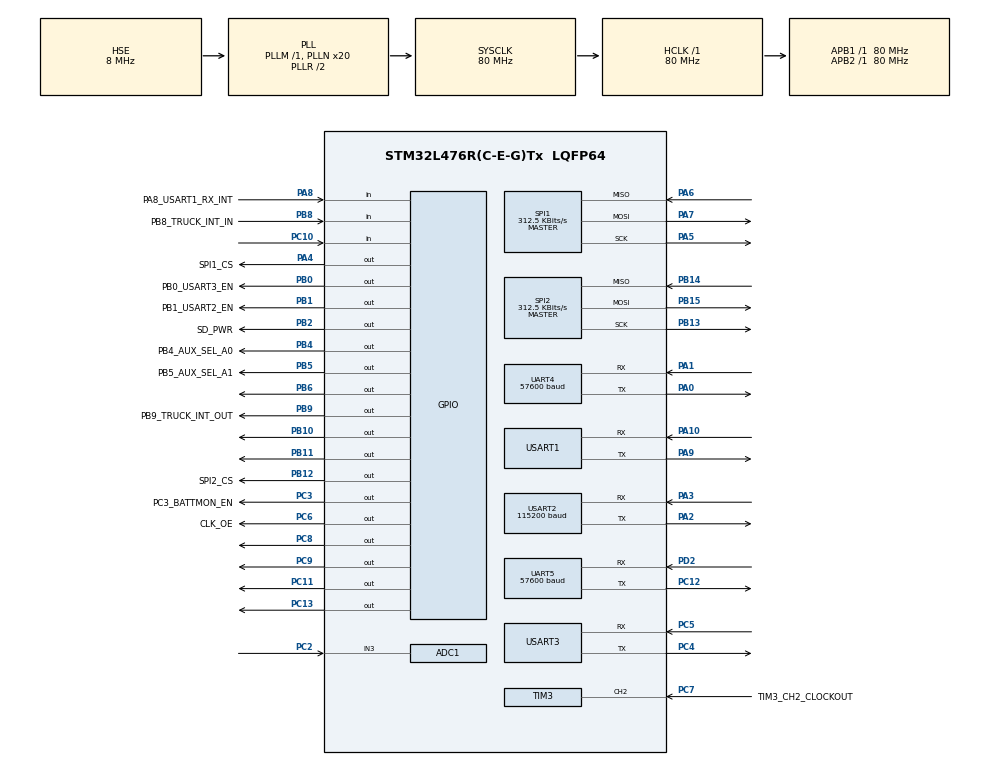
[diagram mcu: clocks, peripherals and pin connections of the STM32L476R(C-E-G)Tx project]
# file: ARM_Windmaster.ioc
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ADC1.Channel-2\#ChannelRegularConversion=ADC_CHANNEL_3
ADC1.NbrOfConversionFlag=1
ADC1.OffsetNumber-2\#ChannelRegularConversion=ADC_OFFSET_NONE
ADC1.Rank-2\#ChannelRegularConversion=1
ADC1.SamplingTime-2\#ChannelRegularConversion=ADC_SAMPLETIME_2CYCLES_5
ADC1.master=1
Dma.Request0=UART4_RX
Dma.Request1=UART5_RX
Dma.Request2=SPI1_TX
Dma.Request3=USART2_RX
Dma.Request4=USART2_TX
Dma.Request5=USART3_RX
Dma.Request6=USART3_TX
Dma.Request7=UART5_TX
Dma.Request8=UART4_TX
Dma.SPI1_TX.2.Direction=DMA_MEMORY_TO_PERIPH
Dma.SPI1_TX.2.Instance=DMA2_Channel4
Dma.SPI1_TX.2.MemDataAlignment=DMA_MDATAALIGN_BYTE
Dma.SPI1_TX.2.MemInc=DMA_MINC_ENABLE
Dma.SPI1_TX.2.Mode=DMA_NORMAL
Dma.SPI1_TX.2.PeriphDataAlignment=DMA_PDATAALIGN_BYTE
Dma.SPI1_TX.2.PeriphInc=DMA_PINC_DISABLE
Dma.SPI1_TX.2.Priority=DMA_PRIORITY_MEDIUM
Dma.UART4_RX.0.Direction=DMA_PERIPH_TO_MEMORY
Dma.UART4_RX.0.Instance=DMA2_Channel5
Dma.UART4_RX.0.MemDataAlignment=DMA_MDATAALIGN_BYTE
Dma.UART4_RX.0.MemInc=DMA_MINC_ENABLE
Dma.UART4_RX.0.Mode=DMA_CIRCULAR
Dma.UART4_RX.0.PeriphDataAlignment=DMA_PDATAALIGN_BYTE
Dma.UART4_RX.0.PeriphInc=DMA_PINC_DISABLE
Dma.UART4_RX.0.Priority=DMA_PRIORITY_VERY_HIGH
Dma.UART4_TX.8.Direction=DMA_MEMORY_TO_PERIPH
Dma.UART4_TX.8.Instance=DMA2_Channel3
Dma.UART4_TX.8.MemDataAlignment=DMA_MDATAALIGN_BYTE
Dma.UART4_TX.8.MemInc=DMA_MINC_ENABLE
Dma.UART4_TX.8.Mode=DMA_NORMAL
Dma.UART4_TX.8.PeriphDataAlignment=DMA_PDATAALIGN_BYTE
Dma.UART4_TX.8.PeriphInc=DMA_PINC_DISABLE
Dma.UART4_TX.8.Priority=DMA_PRIORITY_LOW
Dma.UART5_RX.1.Direction=DMA_PERIPH_TO_MEMORY
Dma.UART5_RX.1.Instance=DMA2_Channel2
Dma.UART5_RX.1.MemDataAlignment=DMA_MDATAALIGN_BYTE
Dma.UART5_RX.1.MemInc=DMA_MINC_ENABLE
Dma.UART5_RX.1.Mode=DMA_CIRCULAR
Dma.UART5_RX.1.PeriphDataAlignment=DMA_PDATAALIGN_BYTE
Dma.UART5_RX.1.PeriphInc=DMA_PINC_DISABLE
Dma.UART5_RX.1.Priority=DMA_PRIORITY_VERY_HIGH
Dma.UART5_TX.7.Direction=DMA_MEMORY_TO_PERIPH
Dma.UART5_TX.7.Instance=DMA2_Channel1
Dma.UART5_TX.7.MemDataAlignment=DMA_MDATAALIGN_BYTE
Dma.UART5_TX.7.MemInc=DMA_MINC_ENABLE
Dma.UART5_TX.7.Mode=DMA_CIRCULAR
Dma.UART5_TX.7.PeriphDataAlignment=DMA_PDATAALIGN_BYTE
Dma.UART5_TX.7.PeriphInc=DMA_PINC_DISABLE
Dma.UART5_TX.7.Priority=DMA_PRIORITY_MEDIUM
Dma.USART2_RX.3.Direction=DMA_PERIPH_TO_MEMORY
Dma.USART2_RX.3.Instance=DMA1_Channel6
Dma.USART2_RX.3.MemDataAlignment=DMA_MDATAALIGN_BYTE
Dma.USART2_RX.3.MemInc=DMA_MINC_ENABLE
Dma.USART2_RX.3.Mode=DMA_NORMAL
Dma.USART2_RX.3.PeriphDataAlignment=DMA_PDATAALIGN_BYTE
Dma.USART2_RX.3.PeriphInc=DMA_PINC_DISABLE
Dma.USART2_RX.3.Priority=DMA_PRIORITY_VERY_HIGH
Dma.USART2_TX.4.Direction=DMA_MEMORY_TO_PERIPH
Dma.USART2_TX.4.Instance=DMA1_Channel7
Dma.USART2_TX.4.MemDataAlignment=DMA_MDATAALIGN_BYTE
Dma.USART2_TX.4.MemInc=DMA_MINC_ENABLE
Dma.USART2_TX.4.Mode=DMA_NORMAL
Dma.USART2_TX.4.PeriphDataAlignment=DMA_PDATAALIGN_BYTE
Dma.USART2_TX.4.PeriphInc=DMA_PINC_DISABLE
Dma.USART2_TX.4.Priority=DMA_PRIORITY_MEDIUM
Dma.USART3_RX.5.Direction=DMA_PERIPH_TO_MEMORY
Dma.USART3_RX.5.Instance=DMA1_Channel3
Dma.USART3_RX.5.MemDataAlignment=DMA_MDATAALIGN_BYTE
Dma.USART3_RX.5.MemInc=DMA_MINC_ENABLE
Dma.USART3_RX.5.Mode=DMA_CIRCULAR
Dma.USART3_RX.5.PeriphDataAlignment=DMA_PDATAALIGN_BYTE
Dma.USART3_RX.5.PeriphInc=DMA_PINC_DISABLE
Dma.USART3_RX.5.Priority=DMA_PRIORITY_VERY_HIGH
Dma.USART3_TX.6.Direction=DMA_MEMORY_TO_PERIPH
Dma.USART3_TX.6.Instance=DMA1_Channel2
Dma.USART3_TX.6.MemDataAlignment=DMA_MDATAALIGN_BYTE
Dma.USART3_TX.6.MemInc=DMA_MINC_ENABLE
Dma.USART3_TX.6.Mode=DMA_NORMAL
Dma.USART3_TX.6.PeriphDataAlignment=DMA_PDATAALIGN_BYTE
Dma.USART3_TX.6.PeriphInc=DMA_PINC_DISABLE
Dma.USART3_TX.6.Priority=DMA_PRIORITY_MEDIUM
FATFS._USE_LFN=2
Mcu.Family=STM32L4
Mcu.Name=STM32L476R(C-E-G)Tx
Mcu.Package=LQFP64
NVIC.DMA1_Channel2_IRQn=true\:0\:0\:false\:false\:true\:false\:true\:true
NVIC.DMA1_Channel3_IRQn=true\:0\:0\:false\:false\:true\:false\:true\:true
NVIC.DMA1_Channel6_IRQn=true\:0\:0\:false\:false\:true\:false\:true\:true
NVIC.DMA1_Channel7_IRQn=true\:0\:0\:false\:false\:true\:false\:true\:true
NVIC.DMA2_Channel1_IRQn=true\:0\:0\:false\:false\:true\:false\:true\:true
NVIC.DMA2_Channel2_IRQn=true\:0\:0\:false\:false\:true\:false\:true\:true
NVIC.DMA2_Channel3_IRQn=true\:0\:0\:false\:false\:true\:false\:true\:true
NVIC.DMA2_Channel4_IRQn=true\:0\:0\:false\:false\:true\:false\:true\:true
NVIC.DMA2_Channel5_IRQn=true\:0\:0\:false\:false\:true\:false\:true\:true
NVIC.PriorityGroup=NVIC_PRIORITYGROUP_4
NVIC.RTC_Alarm_IRQn=true\:0\:0\:false\:false\:true\:true\:true\:true
NVIC.RTC_WKUP_IRQn=true\:0\:0\:false\:false\:true\:true\:true\:true
NVIC.SPI1_IRQn=true\:0\:0\:false\:false\:true\:true\:true\:true
NVIC.TIM3_IRQn=true\:10\:0\:true\:false\:true\:true\:true\:true
NVIC.TIM4_IRQn=true\:11\:0\:true\:false\:true\:true\:true\:true
NVIC.UART4_IRQn=true\:5\:0\:true\:false\:true\:true\:true\:true
NVIC.UART5_IRQn=true\:5\:0\:true\:false\:true\:true\:true\:true
NVIC.USART1_IRQn=true\:0\:0\:false\:false\:true\:true\:true\:true
NVIC.USART2_IRQn=true\:5\:0\:true\:false\:true\:true\:true\:true
NVIC.USART3_IRQn=true\:5\:0\:true\:false\:true\:true\:true\:true
PA0.Mode=Asynchronous
PA0.Signal=UART4_TX
PA1.Mode=Asynchronous
PA1.Signal=UART4_RX
PA10.Mode=Asynchronous
PA10.Signal=USART1_RX
PA11.Signal=USART1_CTS
PA12.Signal=USART1_RTS
PA13\ (JTMS-SWDIO).Mode=Serial_Wire
PA13\ (JTMS-SWDIO).Signal=SYS_JTMS-SWDIO
PA14\ (JTCK-SWCLK).Mode=Serial_Wire
PA14\ (JTCK-SWCLK).Signal=SYS_JTCK-SWCLK
PA2.Mode=Asynchronous
PA2.Signal=USART2_TX
PA3.Mode=Asynchronous
PA3.Signal=USART2_RX
PA4.GPIO_Label=SPI1_CS
PA4.PinState=GPIO_PIN_SET
PA4.Signal=GPIO_Output
PA5.Mode=Full_Duplex_Master
PA5.Signal=SPI1_SCK
PA6.Mode=Full_Duplex_Master
PA6.Signal=SPI1_MISO
PA7.Mode=Full_Duplex_Master
PA7.Signal=SPI1_MOSI
PA8.GPIO_Label=PA8_USART1_RX_INT
PA8.Signal=GPIO_Input
PA9.Mode=Asynchronous
PA9.Signal=USART1_TX
PB0.GPIO_Label=PB0_USART3_EN
PB0.Signal=GPIO_Output
PB1.GPIO_Label=PB1_USART2_EN
PB1.Signal=GPIO_Output
PB10.Signal=GPIO_Output
PB11.Signal=GPIO_Output
PB12.GPIO_Label=SPI2_CS
PB12.Signal=GPIO_Output
PB13.GPIO_PuPd=GPIO_PULLUP
PB13.Mode=Full_Duplex_Master
PB13.Signal=SPI2_SCK
PB14.GPIO_PuPd=GPIO_PULLUP
PB14.Mode=Full_Duplex_Master
PB14.Signal=SPI2_MISO
PB15.GPIO_PuPd=GPIO_PULLUP
PB15.Mode=Full_Duplex_Master
PB15.Signal=SPI2_MOSI
PB2.GPIO_Label=SD_PWR
PB2.Signal=GPIO_Output
PB3\ (JTDO-TRACESWO).Signal=SYS_JTDO-SWO
PB4\ (NJTRST).GPIO_Label=PB4_AUX_SEL_A0
PB4\ (NJTRST).Signal=GPIO_Output
PB5.GPIO_Label=PB5_AUX_SEL_A1
PB5.Signal=GPIO_Output
PB6.Signal=GPIO_Output
PB8.GPIO_Label=PB8_TRUCK_INT_IN
PB8.Signal=GPIO_Input
PB9.GPIO_Label=PB9_TRUCK_INT_OUT
PB9.Signal=GPIO_Output
PC0.Signal=ADCx_IN1
PC1.Signal=ADCx_IN2
PC10.Signal=GPIO_Input
PC11.Signal=GPIO_Output
PC12.Mode=Asynchronous
PC12.Signal=UART5_TX
PC13.Signal=GPIO_Output
PC14-OSC32_IN\ (PC14).Mode=LSE-External-Oscillator
PC14-OSC32_IN\ (PC14).Signal=RCC_OSC32_IN
PC15-OSC32_OUT\ (PC15).Mode=LSE-External-Oscillator
PC15-OSC32_OUT\ (PC15).Signal=RCC_OSC32_OUT
PC2.Signal=ADCx_IN3
PC3.GPIO_Label=PC3_BATTMON_EN
PC3.Signal=GPIO_Output
PC4.Mode=Asynchronous
PC4.Signal=USART3_TX
PC5.Mode=Asynchronous
PC5.Signal=USART3_RX
PC6.GPIO_Label=CLK_OE
PC6.Signal=GPIO_Output
PC7.GPIO_Label=TIM3_CH2_CLOCKOUT
PC7.Signal=S_TIM3_CH2
PC8.Signal=GPIO_Output
PC9.Signal=GPIO_Output
PD2.Mode=Asynchronous
PD2.Signal=UART5_RX
PH0-OSC_IN\ (PH0).Mode=HSE-External-Oscillator
PH0-OSC_IN\ (PH0).Signal=RCC_OSC_IN
PH1-OSC_OUT\ (PH1).Mode=HSE-External-Oscillator
PH1-OSC_OUT\ (PH1).Signal=RCC_OSC_OUT
ProjectManager.HeapSize=0x200
ProjectManager.StackSize=0x400
ProjectManager.TargetToolchain=CMake
RCC.ADCFreq_Value=64000000
RCC.AHBFreq_Value=80000000
RCC.APB1Freq_Value=80000000
RCC.APB1TimFreq_Value=80000000
RCC.APB2Freq_Value=80000000
RCC.APB2TimFreq_Value=80000000
RCC.CortexFreq_Value=80000000
RCC.EnableCSSLSE=true
RCC.HCLKFreq_Value=80000000
RCC.HSE_VALUE=8000000
RCC.HSI_VALUE=16000000
RCC.MSI_VALUE=4000000
RCC.PLLN=20
RCC.PLLSAI1N=16
RCC.PLLSourceVirtual=RCC_PLLSOURCE_HSE
RCC.RTCClockSelection=RCC_RTCCLKSOURCE_LSE
RCC.SYSCLKFreq_VALUE=80000000
RCC.SYSCLKSource=RCC_SYSCLKSOURCE_PLLCLK
RCC.USBFreq_Value=64000000
RCC.VCOOutputFreq_Value=160000000
RTC.Alarm-Alarm\ A=RTC_ALARM_A
SH.ADCx_IN1.0=ADC1_IN1
SH.ADCx_IN2.0=ADC2_IN2
SH.ADCx_IN3.0=ADC1_IN3,IN3-Single-Ended
SH.S_TIM3_CH2.0=TIM3_CH2,Input_Capture2_from_TI2
SPI1.BaudRatePrescaler=SPI_BAUDRATEPRESCALER_256
SPI1.CalculateBaudRate=312.5 KBits/s
SPI1.DataSize=SPI_DATASIZE_8BIT
SPI1.Direction=SPI_DIRECTION_2LINES
SPI1.Mode=SPI_MODE_MASTER
SPI1.VirtualType=VM_MASTER
SPI2.BaudRatePrescaler=SPI_BAUDRATEPRESCALER_256
SPI2.CalculateBaudRate=312.5 KBits/s
SPI2.DataSize=SPI_DATASIZE_8BIT
SPI2.Direction=SPI_DIRECTION_2LINES
SPI2.Mode=SPI_MODE_MASTER
SPI2.VirtualType=VM_MASTER
TIM2.Period=0xffffffff
TIM2.Prescaler=79
TIM3.Channel-Input_Capture2_from_TI2=TIM_CHANNEL_2
TIM3.Period=0xffff
TIM3.Prescaler=79
TIM4.Period=499
TIM4.Prescaler=7999
UART4.BaudRate=57600
UART5.BaudRate=57600
USART1.VirtualMode-Asynchronous=VM_ASYNC
USART2.BaudRate=115200
USART2.VirtualMode-Asynchronous=VM_ASYNC
USART3.VirtualMode-Asynchronous=VM_ASYNC
VP_FATFS_VS_Generic.Mode=User_defined
VP_RTC_VS_RTC_Activate.Mode=RTC_Enabled
VP_RTC_VS_RTC_Alarm_A_Intern.Mode=Alarm A
VP_RTC_VS_RTC_Calendar.Mode=RTC_Calendar
VP_RTC_VS_RTC_WakeUp_intern.Mode=WakeUp
VP_TIM2_VS_ClockSourceINT.Mode=Internal
VP_TIM3_VS_ClockSourceINT.Mode=Internal
VP_TIM4_VS_ClockSourceINT.Mode=Internal
board=custom

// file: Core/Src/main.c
/* USER CODE BEGIN Header */
/**
  ******************************************************************************
  * @file           : main.c
  * @brief          : Main program body
  ******************************************************************************
  * @attention
  *
  * Copyright (c) 2025 STMicroelectronics.
  * All rights reserved.
  *
  * This software is licensed under terms that can be found in the LICENSE file
  * in the root directory of this software component.
  * If no LICENSE file comes with this software, it is provided AS-IS.
  *
  ******************************************************************************
  */
/* USER CODE END Header */
#include "main.h"
#include "adc.h"
#include "dma.h"
#include "fatfs.h"
#include "rtc.h"
#include "spi.h"
#include "tim.h"
#include "usart.h"
#include "gpio.h"

/* USER CODE BEGIN Includes */
#include "shell.h"
#include "filesystem.h"
#include "tasker.h"
#include "windmaster.h"
#include "vectornav.h"
#include "recorder.h"
#include "calculations.h"
#include <string.h>
#include <stdio.h>
#include <stdarg.h>
#include <stdlib.h>
#include "ab-rtcmc-rtc.h"
#include "systime.h"
#include "stm32l4xx_ll_dma.h"
#include "telos.h"
/* USER CODE END Includes */

/* USER CODE BEGIN PV */

/* RTC timer notification flag set by EXTI callback */
//static volatile uint8_t rtc_timer_flag = 0;

/* 20 Hz timer notification flag */
//volatile uint8_t tick20_flag = 0;

/* USER CODE END PV */

void SystemClock_Config(void);
/* USER CODE BEGIN PFP */
void gps_time_sync(void);
void systime_startup(void);
void uart_rx_process_char(uint8_t ch);

/* USER CODE END PFP */

int main(void)
{

  /* MCU Configuration--------------------------------------------------------*/

  /* Reset of all peripherals, Initializes the Flash interface and the Systick. */
  HAL_Init();

  /* Configure the system clock */
  SystemClock_Config();

  /* Initialize all configured peripherals */
  MX_GPIO_Init();
  MX_DMA_Init();
  MX_SPI1_Init();
  MX_SPI2_Init();
  MX_UART4_Init();
  MX_FATFS_Init();
  MX_UART5_Init();
  MX_ADC1_Init();
  MX_TIM2_Init();
  MX_TIM3_Init();
  MX_TIM4_Init();
  MX_USART1_UART_Init();
  MX_USART2_UART_Init();
  MX_USART3_UART_Init();
  MX_RTC_Init();
  /* USER CODE BEGIN 2 */

  /* Start the free-running 1 MHz timer */
  LL_TIM_EnableCounter(TIM2);

  /* Start the 20 Hz timer and interrupt */
  /*
  LL_TIM_EnableIT_UPDATE(TIM4);
  LL_TIM_EnableCounter(TIM4);
  */
  shell_printf("SYSTEM INIT\r\n");

  systime_startup();
  filesystem_init();
  tasker_init();
  calc_init();
  transceiver_init();

  /* Allow the VectorNav to boot up after its power/transceiver enable is asserted */
  shell_printf("Waiting 5s for Sensors to boot...\r\n");
  HAL_Delay(5000);

  init_uart_interrupts();
  wm_init();
  vn_init();
  telos_init();

  /* Allow time for SD card power and UART lines to stabilize and clear any flags */
  HAL_Delay(100);

  /* Verify the VectorNav is alive before attempting a blocking GPS fix loop */
  shell_printf("Checking VectorNav connectivity...");
  if (!vn_check_alive()) {
    shell_printf("FAILED!\r\n");
    shell_printf("ERROR: VectorNav not responding. Check USART3 wiring and PB0 enable.\r\n");
    Error_Handler();
  }
  shell_printf("OK\r\n");

  /* Verify the WindMaster is alive before entering the main loop */
  shell_printf("Checking WindMaster connectivity...");
  if (!wm_check_alive()) {
    shell_printf("FAILED!\r\n");
    shell_printf("WARNING: WindMaster not responding. Check UART4 wiring and PB11 enable.\r\n");
  } else {
    shell_printf("OK\r\n");
  }

  /* Get a GPS fix */
  shell_printf("Getting GPS fix...");
  while (!vn_gps_fix()) {
      HAL_Delay(5000);
      shell_printf(".");
  }
  shell_printf("\nGPS fix acquired!\n");
  gps_time_sync();

  shell_printf("System initialization complete.\n");
  shell_init();

  /* USER CODE END 2 */

  /* Infinite loop */
  while (1)
  {

    /* USER CODE BEGIN 3 */

    /* Process recorder queues and write to SD, returns fast if not recording */
    recorder_service();

    /* Process calculation buffers, returns fast if no buffer ready */
    calc_service();

    /* Process TELOS commands */
    telos_service();

    /* Process any bad WindMaster packets */
    bad_packet_recorder_service();

    /* Shell parsing, processing, and task scheduling */
    shell_task();

    /* Execute any pending tasks */
    tasker_run();

  }
  /* USER CODE END 3 */
}

void SystemClock_Config(void)
{
  RCC_OscInitTypeDef RCC_OscInitStruct = {0};
  RCC_ClkInitTypeDef RCC_ClkInitStruct = {0};

  /** Configure the main internal regulator output voltage
  */
  if (HAL_PWREx_ControlVoltageScaling(PWR_REGULATOR_VOLTAGE_SCALE1) != HAL_OK)
  {
    Error_Handler();
  }

  /** Configure LSE Drive Capability
  */
  HAL_PWR_EnableBkUpAccess();
  __HAL_RCC_LSEDRIVE_CONFIG(RCC_LSEDRIVE_LOW);

  /** Initializes the RCC Oscillators according to the specified parameters
  * in the RCC_OscInitTypeDef structure.
  */
  RCC_OscInitStruct.OscillatorType = RCC_OSCILLATORTYPE_HSE|RCC_OSCILLATORTYPE_LSE;
  RCC_OscInitStruct.HSEState = RCC_HSE_ON;
  RCC_OscInitStruct.LSEState = RCC_LSE_ON;
  RCC_OscInitStruct.PLL.PLLState = RCC_PLL_ON;
  RCC_OscInitStruct.PLL.PLLSource = RCC_PLLSOURCE_HSE;
  RCC_OscInitStruct.PLL.PLLM = 1;
  RCC_OscInitStruct.PLL.PLLN = 20;
  RCC_OscInitStruct.PLL.PLLP = RCC_PLLP_DIV7;
  RCC_OscInitStruct.PLL.PLLQ = RCC_PLLQ_DIV2;
  RCC_OscInitStruct.PLL.PLLR = RCC_PLLR_DIV2;
  if (HAL_RCC_OscConfig(&RCC_OscInitStruct) != HAL_OK)
  {
    Error_Handler();
  }

  /** Initializes the CPU, AHB and APB buses clocks
  */
  RCC_ClkInitStruct.ClockType = RCC_CLOCKTYPE_HCLK|RCC_CLOCKTYPE_SYSCLK
                              |RCC_CLOCKTYPE_PCLK1|RCC_CLOCKTYPE_PCLK2;
  RCC_ClkInitStruct.SYSCLKSource = RCC_SYSCLKSOURCE_PLLCLK;
  RCC_ClkInitStruct.AHBCLKDivider = RCC_SYSCLK_DIV1;
  RCC_ClkInitStruct.APB1CLKDivider = RCC_HCLK_DIV1;
  RCC_ClkInitStruct.APB2CLKDivider = RCC_HCLK_DIV1;

  if (HAL_RCC_ClockConfig(&RCC_ClkInitStruct, FLASH_LATENCY_4) != HAL_OK)
  {
    Error_Handler();
  }

  /** Enables the Clock Security System
  */
  HAL_RCCEx_EnableLSECSS();
}

/* USER CODE BEGIN 4 */

/** @brief Enter low-power snooze mode for a specified number of seconds
  * @param seconds: Number of seconds to snooze
  * @retval None
  */
void snooze (uint16_t seconds)
{
  /* Check if the recorder is running */
  if (recorder_is_recording()) {
    shell_printf("[SNOOZE] ERROR: Cannot enter snooze while recording is active!\r\n");
    return;
  }

  /* Disable the TIM2 1Mhz free-running counter */
  LL_TIM_DisableCounter(TIM2);
  /* Disable the TIM3 counter */
  LL_TIM_DisableCounter(TIM3);
  /* Disable TIM4 */
  LL_TIM_DisableCounter(TIM4);

  /* Turn off the SPI Bus */
  LL_SPI_Disable(SPI1);
  LL_SPI_Disable(SPI2);

  /* Turn off SD Card Power */
  HAL_GPIO_WritePin(GPIOB, GPIO_PIN_2, GPIO_PIN_RESET);

  /* Turn off UARTs */
  LL_USART_Disable(USART1);
  LL_USART_Disable(USART2);
  LL_USART_Disable(USART3);
  LL_USART_Disable(UART4);
  LL_USART_Disable(UART5);

  /* Turn off the RS232 transceivers */
  HAL_GPIO_WritePin(GPIOB, GPIO_PIN_0, GPIO_PIN_RESET); // USART3
  HAL_GPIO_WritePin(GPIOB, GPIO_PIN_1, GPIO_PIN_RESET); // USART2 (TELOS)
  HAL_GPIO_WritePin(GPIOB, GPIO_PIN_4, GPIO_PIN_RESET); // UART5 spare
  HAL_GPIO_WritePin(GPIOB, GPIO_PIN_5, GPIO_PIN_RESET); /* UART5 spare second control */
  HAL_GPIO_WritePin(UART4_RS232_EN_GPIO_Port, UART4_RS232_EN_Pin, GPIO_PIN_RESET); /* UART4 WindMaster */

  /* Configure on-chip RTC Wakeup Timer using HAL */
  /* Use RTC wakeup timer with RTCCLK/16 = LSE/16 = 32768/16 = 2048 Hz */
  /* For N seconds wakeup, counter = (N * 2048) - 1 */

  uint32_t wakeup_counter = (seconds * 2048) - 1;

  /* Set wakeup timer with interrupt mode */
  if (HAL_RTCEx_SetWakeUpTimer_IT(&hrtc, wakeup_counter, RTC_WAKEUPCLOCK_RTCCLK_DIV16) != HAL_OK)
  {
    /* Timer configuration failed - should not happen */
    Error_Handler();
  }

  /* Enter Stop Mode 2 for lowest power consumption */
  /* Stop Mode 2: All clocks stopped, SRAM and registers retained */
  /* RTC continues running and can wake up the system */
  HAL_PWREx_EnterSTOP2Mode(PWR_STOPENTRY_WFI);

  /* CPU will resume here after wakeup interrupt */
  /* System clock needs to be reconfigured (done in wakeup() function) */
}

/** @brief Wake up from low-power snooze mode
  * @param None
  * @retval None
  */
void wakeup (void)
{
  /* After waking from Stop Mode 2, system clock is MSI (4 MHz default) */
  /* Need to reconfigure system clock to PLL */
  SystemClock_Config();

  /* Disable RTC wakeup timer using HAL */
  HAL_RTCEx_DeactivateWakeUpTimer(&hrtc);

  /* Re-enable the TIM2 1Mhz free-running counter */
  LL_TIM_EnableCounter(TIM2);

  /* Re-enable the TIM3 counter for PPS synchronization */
  LL_TIM_EnableCounter(TIM3);

  /* Reset the system time from the RTC */
  RTC_DateTime_t wakeup_dt;
  RTC_GetDateTime(&wakeup_dt);
  systime_init(&wakeup_dt);

  /* Turn on SD Card Power and wait for stabilization */
  HAL_GPIO_WritePin(GPIOB, GPIO_PIN_2, GPIO_PIN_SET);
  HAL_Delay(10);

  /* Turn on the SPI Bus */
  LL_SPI_Enable(SPI1);
  LL_SPI_Enable(SPI2);

  /* Turn on the RS232 transceivers */
  HAL_GPIO_WritePin(GPIOB, GPIO_PIN_0, GPIO_PIN_SET);   /* USART3 */
  HAL_GPIO_WritePin(GPIOB, GPIO_PIN_1, GPIO_PIN_SET);   /* USART2 (TELOS) */
  HAL_GPIO_WritePin(GPIOB, GPIO_PIN_4, GPIO_PIN_SET);   /* UART5 spare */
  HAL_GPIO_WritePin(GPIOB, GPIO_PIN_5, GPIO_PIN_RESET); /* UART5 spare second control */
  HAL_GPIO_WritePin(UART4_RS232_EN_GPIO_Port, UART4_RS232_EN_Pin, GPIO_PIN_SET);  /* UART4 WindMaster */

  /* Turn on UARTs */
  LL_USART_Enable(USART1);
  LL_USART_Enable(USART2);
  LL_USART_Enable(USART3);
  LL_USART_Enable(UART4);
  LL_USART_Enable(UART5);

  /* Re-initialize UART interrupts for shell */
  init_uart_interrupts();

  /* Small delay to allow peripherals to stabilize */
  HAL_Delay(50);
}

/**
  * @brief UART RX-Complete callback (HAL library)
  * @param huart: UART handle
  * @retval None
  */
void HAL_UART_RxCpltCallback(UART_HandleTypeDef *huart)
{
    /* Handle shell input on USART1 */
    if (huart->Instance == USART1) {
        shell_uart_receive_callback();
    }
}

/**
  * @brief  EXTI line detection callback
  * @param  GPIO_Pin: Specifies the pin connected to the EXTI line
  * @retval None
  */
void HAL_GPIO_EXTI_Callback(uint16_t GPIO_Pin)
{

}

/** @brief Initialize system time from RTC at startup
  *  @param None
  *  @retval None
  *  @note   Reads the current date/time from the RTC and initializes systime module.
  *         Prints the initialized system time to the shell.
  */
void systime_startup(void)
{
  /* Initialize RTC */
  RTC_Status_t rtc_status = RTC_Init();
  if (rtc_status != RTC_OK) {
    shell_printf("RTC_Init failed with status: %d\r\n", rtc_status);
    shell_printf("  (0=OK, 1=ERROR, 2=TIMEOUT, 3=INVALID_PARAM, 4=EEPROM_BUSY)\r\n");
  } else {
    shell_printf("RTC_Init OK, CLKOUT enabled @ 1Hz\r\n");
  }

  /* Get the current date/time from the RTC */
  RTC_DateTime_t initial_dt;
  RTC_GetDateTime(&initial_dt);

  /* Initialize system time with the RTC date/time */
  systime_init(&initial_dt);

  /* print current system time from systime */
  uint32_t full_epoch_sec = time_s_now();  /* time_s_now() already returns full epoch seconds */
  RTC_DateTime_t current_dt;
  current_dt = epoch_to_datetime(full_epoch_sec);
  shell_printf("System time initialized to: %02d-%02d-20%02d %02d:%02d:%02d\r\n",
              current_dt.months, current_dt.days, current_dt.years,
              current_dt.hours, current_dt.minutes, current_dt.seconds);

  /* Wait and check PPS */
  shell_printf("Checking PPS (waiting 3 seconds)...\r\n");
  HAL_Delay(3000);
  uint64_t pps_count = systime_get_pps_count();
  shell_printf("PPS count: %u\r\n", (uint32_t)pps_count);
  if (pps_count == 0) {
    shell_printf("WARNING: No PPS detected! Check RTC CLKOUT and TIM3.\r\n");
  }
}

/** @brief Synchronize RTC and system time with GPS time from VectorNav
  *  @param None
  *  @retval None
  *  @note  Reads GPS week and time-of-week from VectorNav and updates system time
  */
void gps_time_sync(void)
{
  /* Get current GPS date/time from VectorNav (derived from GNSS week + TOW) */
  RTC_DateTime_t gps_dt = {0};
  const uint8_t MAX_TIME_ATTEMPTS = 10;
  uint8_t time_attempts = 0;
  while (time_attempts < MAX_TIME_ATTEMPTS) {
    gps_dt = vn_get_gps_datetime();

    bool dt_ok = (gps_dt.years <= 99) &&
            (gps_dt.months >= 1 && gps_dt.months <= 12) &&
            (gps_dt.days >= 1 && gps_dt.days <= 31) &&
            (gps_dt.hours <= 23) &&
            (gps_dt.minutes <= 59) &&
            (gps_dt.seconds <= 59);

    if (dt_ok) {
      break;
    }

    time_attempts++;
    HAL_Delay(50);
  }

  if (time_attempts < MAX_TIME_ATTEMPTS) {
    RTC_SetDateTime(&gps_dt);
    systime_init(&gps_dt);
    shell_printf("RTC and System Time updated to GPS time: %02d-%02d-20%02d %02d:%02d:%02d\r\n",
                gps_dt.months, gps_dt.days, gps_dt.years,
                gps_dt.hours, gps_dt.minutes, gps_dt.seconds);
  } else {
    shell_printf("WARNING: Failed to read valid time from VectorNav; leaving RTC unchanged.\r\n");
  }
}

/* USER CODE END 4 */

void Error_Handler(void)
{
  __disable_irq();
  while (1)
  {
  }
}
